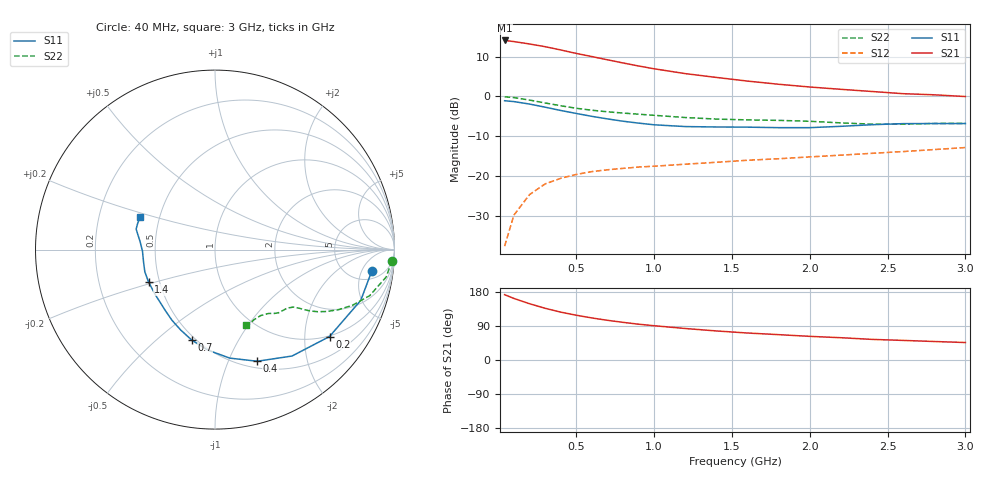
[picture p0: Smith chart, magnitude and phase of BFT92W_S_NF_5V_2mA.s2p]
! Filename:  BFT92WA.S2P  Version:  4.0
! Philips part #: BFT92W  Date: Jun 1994
! Bias condition: Vce=5V, Ic=2mA
#  MHz  S  MA  R  50
! Freq  S11  S21  S12  S22  !GUM [dB]
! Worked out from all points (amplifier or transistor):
!   21 points, 40 MHz to 3 GHz, reference 50 ohm
!   highest |S21| = 14.1 dB at 40 MHz (marker M1)
!   |S21| within 3 dB of that: start of sweep to 469.7 MHz
!   unconditionally stable (mu >= 1): 1.101 GHz to end of sweep
!   at 300 MHz: K = 0.37, MSG = 17.3 dB, |S12| = -22.0 dB
!   at 1 GHz: K = 0.93, MSG = 12.3 dB, |S12| = -17.6 dB
!   at 3 GHz: K = 1.31, MAG = 3.1 dB, |S12| = -12.9 dB
!   lowest NFmin = 1.90 dB at 500 MHz
!   S11 on the Smith chart (normalised r, x): 40 MHz: 7, -8; 200 MHz: 0.98, -2.65; 400 MHz: 0.57, -1.28; 700 MHz: 0.48, -0.66; 1.4 GHz: 0.43, -0.19; 3 GHz: 0.39, +0.18
40  0.882 -7.7  5.064 172.4  0.013 84.7  0.988 -3.6
100  0.86 -19.2  4.899 162.4  0.032 77.1  0.966 -9.1
200  0.801 -37.2  4.574 148.5  0.058 67.3  0.899 -16.6
300  0.732 -54.1  4.229 136.5  0.079 59.4  0.827 -22.0
400  0.665 -69.3  3.847 126.4  0.093 53.9  0.763 -26.1
500  0.61 -82.3  3.477 118.2  0.104 50.3  0.709 -29.1
600  0.561 -94.2  3.176 111.0  0.113 48.4  0.67 -31.1
700  0.521 -104.3  2.892 104.8  0.119 47.3  0.64 -32.4
800  0.487 -113.1  2.638 99.4  0.124 46.6  0.617 -33.3
900  0.461 -121.3  2.418 94.5  0.129 46.3  0.597 -34.0
1000  0.439 -128.8  2.228 90.5  0.132 46.4  0.578 -34.6
1200  0.417 -142.8  1.937 83.1  0.14 47.2  0.542 -36.2
1400  0.412 -154.0  1.734 76.7  0.148 48.6  0.518 -39.0
1600  0.41 -162.5  1.559 71.2  0.157 50.1  0.506 -42.5
1800  0.404 -170.2  1.422 66.9  0.164 52.4  0.499 -44.9
2000  0.404 -178.7  1.313 62.4  0.173 54.5  0.486 -47.0
2200  0.42 173.8  1.228 58.8  0.182 56.5  0.464 -50.1
2400  0.44 168.5  1.153 54.4  0.192 58.2  0.447 -55.3
2600  0.454 165.4  1.082 51.7  0.202 59.7  0.447 -60.9
2800  0.455 161.2  1.047 48.8  0.214 61.7  0.456 -64.8
3000  0.455 156.1  0.996 46.1  0.227 63.4  0.457 -67.6
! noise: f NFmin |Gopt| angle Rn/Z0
500  1.9  0.38  40  0.44
1000  2.7  0.37  68  0.56
